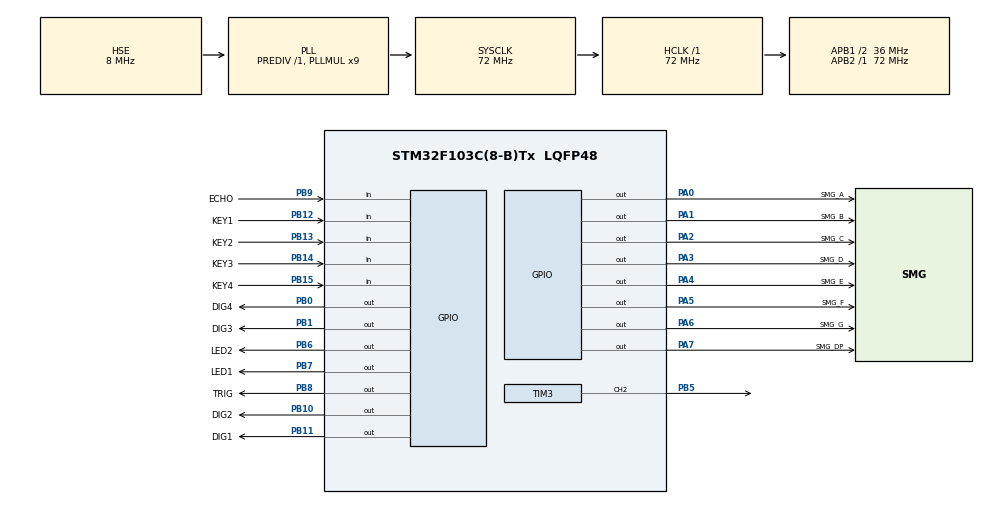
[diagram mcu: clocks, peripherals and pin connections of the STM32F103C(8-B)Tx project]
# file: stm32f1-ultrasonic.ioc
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Mcu.Family=STM32F1
Mcu.Name=STM32F103C(8-B)Tx
Mcu.Package=LQFP48
NVIC.PriorityGroup=NVIC_PRIORITYGROUP_4
NVIC.TIM1_UP_IRQn=true\:2\:0\:true\:false\:true\:true\:true\:true
NVIC.TIM2_IRQn=true\:2\:0\:true\:false\:true\:true\:true\:true
PA0-WKUP.GPIO_Label=SMG_A
PA0-WKUP.Signal=GPIO_Output
PA1.GPIO_Label=SMG_B
PA1.Signal=GPIO_Output
PA13.Mode=Serial_Wire
PA13.Signal=SYS_JTMS-SWDIO
PA14.Mode=Serial_Wire
PA14.Signal=SYS_JTCK-SWCLK
PA2.GPIO_Label=SMG_C
PA2.Signal=GPIO_Output
PA3.GPIO_Label=SMG_D
PA3.Signal=GPIO_Output
PA4.GPIO_Label=SMG_E
PA4.Signal=GPIO_Output
PA5.GPIO_Label=SMG_F
PA5.Signal=GPIO_Output
PA6.GPIO_Label=SMG_G
PA6.Signal=GPIO_Output
PA7.GPIO_Label=SMG_DP
PA7.Signal=GPIO_Output
PB0.GPIO_Label=DIG4
PB0.Signal=GPIO_Output
PB1.GPIO_Label=DIG3
PB1.Signal=GPIO_Output
PB10.GPIO_Label=DIG2
PB10.Signal=GPIO_Output
PB11.GPIO_Label=DIG1
PB11.Signal=GPIO_Output
PB12.GPIO_Label=KEY1
PB12.GPIO_PuPd=GPIO_NOPULL
PB12.Signal=GPIO_Input
PB13.GPIO_Label=KEY2
PB13.Signal=GPIO_Input
PB14.GPIO_Label=KEY3
PB14.Signal=GPIO_Input
PB15.GPIO_Label=KEY4
PB15.Signal=GPIO_Input
PB5.Signal=S_TIM3_CH2
PB6.GPIO_Label=LED2
PB6.Signal=GPIO_Output
PB7.GPIO_Label=LED1
PB7.Signal=GPIO_Output
PB8.GPIO_Label=TRIG
PB8.Signal=GPIO_Output
PB9.GPIO_Label=ECHO
PB9.GPIO_PuPd=GPIO_PULLUP
PB9.Signal=GPIO_Input
PD0-OSC_IN.Mode=HSE-External-Oscillator
PD0-OSC_IN.Signal=RCC_OSC_IN
PD1-OSC_OUT.Mode=HSE-External-Oscillator
PD1-OSC_OUT.Signal=RCC_OSC_OUT
ProjectManager.HeapSize=0x200
ProjectManager.StackSize=0x400
ProjectManager.TargetToolchain=MDK-ARM V5.32
RCC.AHBFreq_Value=72000000
RCC.APB1CLKDivider=RCC_HCLK_DIV2
RCC.APB1Freq_Value=36000000
RCC.APB1TimFreq_Value=72000000
RCC.APB2Freq_Value=72000000
RCC.APB2TimFreq_Value=72000000
RCC.HCLKFreq_Value=72000000
RCC.PLLMUL=RCC_PLL_MUL9
RCC.PLLSourceVirtual=RCC_PLLSOURCE_HSE
RCC.SYSCLKFreq_VALUE=72000000
RCC.SYSCLKSource=RCC_SYSCLKSOURCE_PLLCLK
RCC.USBFreq_Value=72000000
SH.S_TIM3_CH2.0=TIM3_CH2,PWM Generation2 CH2
TIM1.AutoReloadPreload=TIM_AUTORELOAD_PRELOAD_ENABLE
TIM1.Period=999
TIM1.Prescaler=71
TIM2.AutoReloadPreload=TIM_AUTORELOAD_PRELOAD_ENABLE
TIM2.Period=4999
TIM2.Prescaler=71
TIM3.Channel-PWM\ Generation2\ CH2=TIM_CHANNEL_2
TIM3.Prescaler=71
VP_TIM1_VS_ClockSourceINT.Mode=Internal
VP_TIM2_VS_ClockSourceINT.Mode=Internal
board=custom

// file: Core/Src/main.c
/* USER CODE BEGIN Header */
/**
  ******************************************************************************
  * @file           : main.c
  * @brief          : Main program body
  ******************************************************************************
  * @attention
  *
  * Copyright (c) 2025 STMicroelectronics.
  * All rights reserved.
  *
  * This software is licensed under terms that can be found in the LICENSE file
  * in the root directory of this software component.
  * If no LICENSE file comes with this software, it is provided AS-IS.
  *
  ******************************************************************************
  */
/* USER CODE END Header */
#include "main.h"
#include "tim.h"
#include "gpio.h"

/* USER CODE BEGIN Includes */
#include "hw_key.h"
#include "hw_smg.h"
#include "hw_led.h"
#include "hw_ultrasonic.h"
#include "hw_passive_beep.h"
#include "mid_timer.h"
/* USER CODE END Includes */

void SystemClock_Config(void);

/* USER CODE BEGIN 0 */
enum
{
	key1 = 0,
	key2,
	key3,
	key4
};
enum
{
	led1 = 0,
	led2
};
enum
{
	NO_SET = 0,					//无设置状态
	SET_HIGH_THRESHOLD,	//设置高阈值状态
	SET_LOW_THRESHOLD		//设置低阈值状态
};
/* USER CODE END 0 */

int main(void)
{
  /* USER CODE BEGIN 1 */
	struct key_class key_handle_t[4];	//按键句柄
	struct led_class led_handle_t[2];	//led句柄
	BEEP_HandleTypeDef beep_handle_t;	//蜂鸣器句柄
	uint8_t set_state = NO_SET;				//设置状态
	uint8_t sr04_run_state = RUN_MS_TIMER;	//超声波传感器运行状态
	uint8_t high_threshold = 30;			//默认高阈值
	uint8_t low_threshold = 5;				//默认低阈值
	uint16_t key_time_val = 0;				//按键定时器值
	uint16_t sr04_time_val = 0;				//超声波定时器值
	uint32_t ultrasonic_val_cm = 0;		//超声波测距值
  /* USER CODE END 1 */

  /* MCU Configuration--------------------------------------------------------*/

  /* Reset of all peripherals, Initializes the Flash interface and the Systick. */
  HAL_Init();

  /* Configure the system clock */
  SystemClock_Config();

  /* Initialize all configured peripherals */
  MX_GPIO_Init();
  MX_TIM1_Init();
  MX_TIM2_Init();
  MX_TIM3_Init();
  /* USER CODE BEGIN 2 */
	CoreDebug->DEMCR |= CoreDebug_DEMCR_TRCENA_Msk;	//初始化DWT用于高精度计时
	DWT->CYCCNT = 0;
	DWT->CTRL |= DWT_CTRL_CYCCNTENA_Msk;

	key_handle_t[key1] = key_init(KEY1_GPIO_Port,KEY1_Pin,GPIO_PIN_RESET);	//注册按键
	key_handle_t[key2] = key_init(KEY2_GPIO_Port,KEY2_Pin,GPIO_PIN_RESET);
	key_handle_t[key3] = key_init(KEY3_GPIO_Port,KEY3_Pin,GPIO_PIN_RESET);
	key_handle_t[key4] = key_init(KEY4_GPIO_Port,KEY4_Pin,GPIO_PIN_RESET);

	led_handle_t[led1] = led_init(LED1_GPIO_Port,LED1_Pin,GPIO_PIN_SET);	//注册led
	led_handle_t[led2] = led_init(LED2_GPIO_Port,LED2_Pin,GPIO_PIN_SET);

	beep_handle_t = Buzzer_Init();	//初始化蜂鸣器
	HAL_TIM_Base_Start_IT(&htim1);	//开始定时器中断计时
	HAL_TIM_Base_Start_IT(&htim2);
  /* USER CODE END 2 */

  /* Infinite loop */
  while (1)
  {

    /* USER CODE BEGIN 3 */
		key_time_val = get_key_timer_value();	//获取按键定时器时长
		sr04_time_val = get_sr04_timer_value();	//获取sr04定时器时长

		if(key_time_val >= 10)
		{
			//10ms扫描一次
			set_key_bit_value(PAUSE_MS_TIMER);	//暂停按键扫描

			key_scanf(&key_handle_t[key1]);	//扫描按键
			key_scanf(&key_handle_t[key2]);
			key_scanf(&key_handle_t[key3]);
			key_scanf(&key_handle_t[key4]);

			key_time_val = 0;
			set_key_timer_value(key_time_val);
			set_key_bit_value(RUN_MS_TIMER);	//恢复按键扫描
		}

		if((key_handle_t[key1].key_state & key_handle_t[key2].key_state &
				key_handle_t[key3].key_state & key_handle_t[key4].key_state) != KEY_NoPress)
		{
			//如果有按键按下
			HAL_TIM_Base_Stop_IT(&htim1);	//停止定时器中断
			if(key_handle_t[key1].key_state != KEY_NoPress)
			{
				if(key_handle_t[key1].key_state == KeyPress)
				{
					if(sr04_run_state == RUN_MS_TIMER){
						sr04_run_state = PAUSE_MS_TIMER;
					}
					else{
						sr04_run_state = RUN_MS_TIMER;
					}
				}
				key_handle_t[key1].key_state = KEY_NoPress;
			}
			if(key_handle_t[key2].key_state != KEY_NoPress)
			{
				set_state++;
				if(set_state == SET_HIGH_THRESHOLD){
					clear_show();
					Seg7_DisplayNumber(high_threshold);
					Seg7_SetDigit(11,0,ENABLE);
				}
				else if(set_state == SET_LOW_THRESHOLD){
					clear_show();
					Seg7_DisplayNumber(low_threshold);
					Seg7_SetDigit(12,0,ENABLE);
				}
				else{
					set_state = NO_SET;
					sr04_run_state = RUN_MS_TIMER;
				}
				key_handle_t[key2].key_state = KEY_NoPress;
			}
			if(key_handle_t[key3].key_state != KEY_NoPress)
			{
				if(set_state == SET_HIGH_THRESHOLD){
					high_threshold++;
					if(high_threshold >= 100){
						high_threshold = 100;
					}
					clear_show();
					Seg7_DisplayNumber(high_threshold);
					Seg7_SetDigit(11,0,ENABLE);
				}
				else if(set_state == SET_LOW_THRESHOLD){
					low_threshold++;
					if(low_threshold >= high_threshold){
						low_threshold = low_threshold - 1;
					}
					clear_show();
					Seg7_DisplayNumber(low_threshold);
					Seg7_SetDigit(12,0,ENABLE);
				}
				key_handle_t[key3].key_state = KEY_NoPress;
			}
			if(key_handle_t[key4].key_state != KEY_NoPress)
			{
				if(set_state == SET_HIGH_THRESHOLD){
					high_threshold--;
					if(high_threshold <= low_threshold){
						high_threshold = high_threshold + 1;
					}
					clear_show();
					Seg7_DisplayNumber(high_threshold);
					Seg7_SetDigit(11,0,ENABLE);
				}
				else if(set_state == SET_LOW_THRESHOLD){
					low_threshold--;
					if(low_threshold <= 1){
						low_threshold = 1;
					}
					clear_show();
					Seg7_DisplayNumber(low_threshold);
					Seg7_SetDigit(12,0,ENABLE);
				}
				key_handle_t[key4].key_state = KEY_NoPress;
			}
			key_time_val = 0;
			set_key_timer_value(key_time_val);
			__HAL_TIM_SET_COUNTER(&htim1,0);	//复位计数值
			HAL_TIM_Base_Start_IT(&htim1);		//恢复定时器中断
		}

		if(sr04_time_val >= 500)
		{
			HAL_TIM_Base_Stop_IT(&htim1);	//停止定时器中断
			//每隔500ms扫描一次距离值
			if((sr04_run_state == RUN_MS_TIMER) && (set_state == NO_SET))
			{
				ultrasonic_val_cm = Ultrasonic_MeasureDistanceCm();
				Seg7_DisplayNumber(ultrasonic_val_cm);
				led_turn_on(&led_handle_t[led1]);
				led_turn_off(&led_handle_t[led2]);
				if((ultrasonic_val_cm < low_threshold) || (ultrasonic_val_cm > high_threshold))
				{
					led_turn_off(&led_handle_t[led1]);
					led_turn_on(&led_handle_t[led2]);
					Buzzer_Alert(&beep_handle_t);
				}
			}
			sr04_time_val = 0;
			set_sr04_timer_value(sr04_time_val);
			__HAL_TIM_SET_COUNTER(&htim1,0);	//复位计数值
			HAL_TIM_Base_Start_IT(&htim1);		//恢复定时器中断
		}
  }
  /* USER CODE END 3 */
}

void SystemClock_Config(void)
{
  RCC_OscInitTypeDef RCC_OscInitStruct = {0};
  RCC_ClkInitTypeDef RCC_ClkInitStruct = {0};

  /** Initializes the RCC Oscillators according to the specified parameters
  * in the RCC_OscInitTypeDef structure.
  */
  RCC_OscInitStruct.OscillatorType = RCC_OSCILLATORTYPE_HSE;
  RCC_OscInitStruct.HSEState = RCC_HSE_ON;
  RCC_OscInitStruct.HSEPredivValue = RCC_HSE_PREDIV_DIV1;
  RCC_OscInitStruct.HSIState = RCC_HSI_ON;
  RCC_OscInitStruct.PLL.PLLState = RCC_PLL_ON;
  RCC_OscInitStruct.PLL.PLLSource = RCC_PLLSOURCE_HSE;
  RCC_OscInitStruct.PLL.PLLMUL = RCC_PLL_MUL9;
  if (HAL_RCC_OscConfig(&RCC_OscInitStruct) != HAL_OK)
  {
    Error_Handler();
  }

  /** Initializes the CPU, AHB and APB buses clocks
  */
  RCC_ClkInitStruct.ClockType = RCC_CLOCKTYPE_HCLK|RCC_CLOCKTYPE_SYSCLK
                              |RCC_CLOCKTYPE_PCLK1|RCC_CLOCKTYPE_PCLK2;
  RCC_ClkInitStruct.SYSCLKSource = RCC_SYSCLKSOURCE_PLLCLK;
  RCC_ClkInitStruct.AHBCLKDivider = RCC_SYSCLK_DIV1;
  RCC_ClkInitStruct.APB1CLKDivider = RCC_HCLK_DIV2;
  RCC_ClkInitStruct.APB2CLKDivider = RCC_HCLK_DIV1;

  if (HAL_RCC_ClockConfig(&RCC_ClkInitStruct, FLASH_LATENCY_2) != HAL_OK)
  {
    Error_Handler();
  }
}

void Error_Handler(void)
{
  __disable_irq();
  while (1)
  {
  }
}
